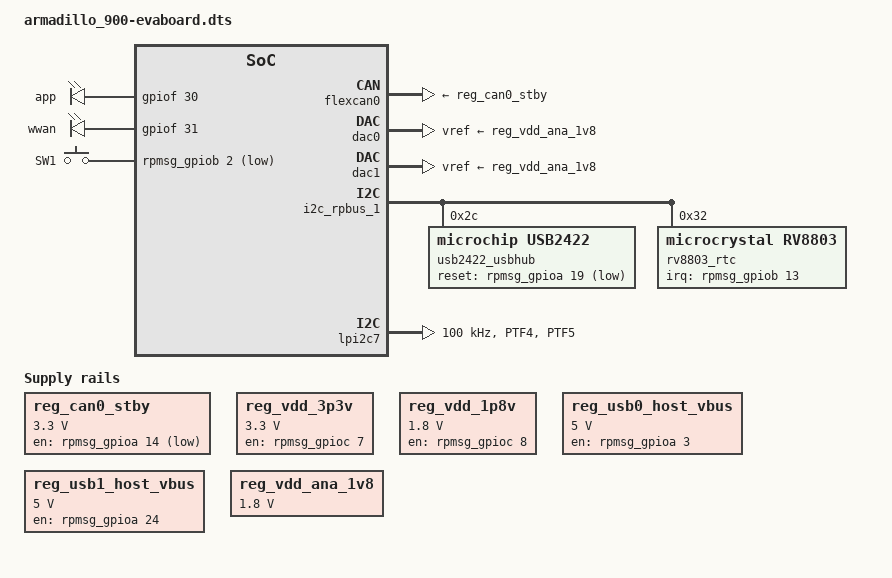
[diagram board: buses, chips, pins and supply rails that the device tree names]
// SPDX-License-Identifier: (GPL-2.0 OR MIT)
/*
 * Copyright (C) 2025 Atmark Techno, Inc. All Rights Reserved.
 */

/dts-v1/;
/plugin/;

#include "imx8ulp-pinfunc.h"
#include "imx8ulp-pinfunc-m33.h"
#include <dt-bindings/gpio/gpio.h>
#include <dt-bindings/input/input.h>
#include <dt-bindings/interrupt-controller/irq.h>

&{/} {
	model = "Atmark-Techno Armadillo-900 module EVA Board";
	compatible = "atmark,armadillo-900", "fsl,imx8ulp";

	aliases {
		/* aliases in overlay do not work natively and we need to
		 * hardcode node paths as strings instead */
		rtc0 = "/soc@0/bus@29800000/i2c@29840000/rtc@32";
	};

	reg_can0_stby: regulator-can0-stby {
		compatible = "regulator-fixed";
		gpio = <&rpmsg_gpioa 14 GPIO_ACTIVE_HIGH>;
		regulator-name = "CAN0_STBY";
		regulator-min-microvolt = <3300000>;
		regulator-max-microvolt = <3300000>;
	};

	reg_gnss_antenna: regulator-gnss-antenna {
		/* not expected to be used by default: enable if required */
		status = "broken";
		compatible = "regulator-fixed";
		gpio = <&rpmsg_gpioc 11 GPIO_ACTIVE_HIGH>;
		regulator-name = "GNSS_ANTENNA";
		regulator-min-microvolt = <3300000>;
		regulator-max-microvolt = <3300000>;
	};

	flexcan0: can@0 {
		compatible = "fsl,imx-rpmsg-can";
		xceiver-supply = <&reg_can0_stby>;
		suspend_wakeup_gpio = <PIN_PTA13>; /* rx pin selected in iomuxc */
		status = "okay";
	};

	/* DAC[0|1] is a fixed function pin. No pinmux needed. */
	dac0 {
		compatible = "fsl,imx-rpmsg-dac";
		label = "vout0";
		vref-supply = <&reg_vdd_ana_1v8>;

		dac_index = <DAC0>;
		dac_vref = <kDAC12_ReferenceVoltageSourceAlt1>;
		dac_cref = <kDAC12_ReferenceCurrentSourceAlt0>;
		dac_speed = <kDAC12_SpeedLowMode>;
	};

	dac1 {
		compatible = "fsl,imx-rpmsg-dac";
		label = "vout1";
		vref-supply = <&reg_vdd_ana_1v8>;

		dac_index = <DAC1>;
		dac_vref = <kDAC12_ReferenceVoltageSourceAlt1>;
		dac_cref = <kDAC12_ReferenceCurrentSourceAlt0>;
		dac_speed = <kDAC12_SpeedLowMode>;
	};

	leds {
		compatible = "gpio-leds";
		pinctrl-names = "default";
		pinctrl-0 = <&pinctrl_leds>;

		f30_led {
			label = "app";
			gpios = <&gpiof 30 GPIO_ACTIVE_HIGH>;
			linux,default-trigger = "none";
		};

		f31_led {
			label = "wwan";
			gpios = <&gpiof 31 GPIO_ACTIVE_HIGH>;
			linux,default-trigger = "none";
		};
	};

	gpio-keys {
		compatible = "gpio-keys";

		gpio_keys_sw1: sw1 {
			label = "SW1";
			gpios = <&rpmsg_gpiob 2 GPIO_ACTIVE_LOW>;
			linux,code = <KEY_PROG1>;
			wakeup-source;
		};
	};

//power
	reg_vdd_3p3v: regulator-vdd-3p3v {
		compatible = "regulator-fixed";
		gpio = <&rpmsg_gpioc 7 GPIO_ACTIVE_HIGH>;
		regulator-name = "VDD_3P3V";
		regulator-min-microvolt = <3300000>;
		regulator-max-microvolt = <3300000>;
		enable-active-high;
		regulator-always-on;
		regulator-boot-on;
	};

	reg_vdd_1p8v: regulator-vdd-1p8v {
		compatible = "regulator-fixed";
		gpio = <&rpmsg_gpioc 8 GPIO_ACTIVE_HIGH>;
		regulator-name = "VDD_1P8V";
		regulator-min-microvolt = <1800000>;
		regulator-max-microvolt = <1800000>;
		enable-active-high;
		regulator-always-on;
		regulator-boot-on;
	};

	reg_usb0_host_vbus: regulator-usb0-vbus {
		compatible = "regulator-fixed";
		gpio = <&rpmsg_gpioa 3 GPIO_ACTIVE_HIGH>;
		regulator-name = "usb0_host_vbus";
		regulator-min-microvolt = <5000000>;
		regulator-max-microvolt = <5000000>;
		enable-active-high;
		regulator-always-on;
	};

	reg_usb1_host_vbus: regulator-usb1-vbus {
		compatible = "regulator-fixed";
		gpio = <&rpmsg_gpioa 24 GPIO_ACTIVE_HIGH>;
		regulator-name = "usb1_host_vbus";
		regulator-min-microvolt = <5000000>;
		regulator-max-microvolt = <5000000>;
		enable-active-high;
		regulator-always-on;
	};

	reg_vdd_ana_1v8: regulator-vdd-ana-1v8 {
		compatible = "regulator-fixed";
		regulator-name = "VDD_ANA_1V8";
		regulator-min-microvolt = <1800000>;
		regulator-max-microvolt = <1800000>;
		enable-active-high;
		regulator-always-on;
		regulator-boot-on;
	};
};

// USB hub, RTC, eeprom
&i2c_rpbus_1 {
	#address-cells = <1>;
	#size-cells = <0>;
	status = "okay";

	i2c_type = <I2C_TYPE_LPI2C>;
	i2c_index = <LPI2C1>;
	i2c_baudrate = <100000>;

	usb2422_usbhub: usb2422@2c {
		compatible = "microchip,usb2422";
		reg = <0x2c>;
		reset-gpios = <&rpmsg_gpioa 19 GPIO_ACTIVE_LOW>;
	};

	rv8803_rtc: rtc@32 {
		compatible = "microcrystal,rv8803";
		reg = <0x32>;
		interrupt-parent = <&rpmsg_gpiob>;
		interrupts = <13 GPIO_ACTIVE_LOW>;
		wakeup-source;
	};
};

// fixed expansion interface i2c
&lpi2c7 {
	#address-cells = <1>;
	#size-cells = <0>;
	clock-frequency = <100000>;
	pinctrl-names = "default";
	pinctrl-0 = <&pinctrl_lpi2c7>;
	status = "okay";
};

&gpioa_iomuxc {
	flexcan0 {
		imx-rpmsg,pins = <
			IOMUXC_PTA12_CAN0_TX	(IOMUXC_PCR_PE_MASK | IOMUXC_PCR_PS_MASK)
			IOMUXC_PTA13_CAN0_RX	(IOMUXC_PCR_PE_MASK | IOMUXC_PCR_PS_MASK)
		>;
	};
	lpi2c1 {
		imx-rpmsg,pins = <
			IOMUXC_PTA4_LPI2C1_SCL	(IOMUXC_PCR_ODE_MASK | IOMUXC_PCR_PE_MASK | IOMUXC_PCR_PS_MASK | IOMUXC_PCR_SRE_MASK)
			IOMUXC_PTA5_LPI2C1_SDA	(IOMUXC_PCR_ODE_MASK | IOMUXC_PCR_PE_MASK | IOMUXC_PCR_PS_MASK | IOMUXC_PCR_SRE_MASK)
		>;
	};
};

&gpiob_iomuxc {
	do {
		imx-rpmsg,pins = <
			IOMUXC_PTB0_PTB0	IOMUXC_PCR_SRE_MASK
			IOMUXC_PTB1_PTB1	IOMUXC_PCR_SRE_MASK
		>;
	};
	sw1_gpio_keys {
		imx-rpmsg,pins = <
			IOMUXC_PTB2_PTB2	IOMUXC_PCR_IBE_MASK
		>;
	};
};

&iomuxc1 {
	/*
	 * append pinctrl_con10_gpio.
	 * pinctrl_customize is already defined in armadillo_900.dts
	 * and can be customized here or in other dtbos if necessary.
	 */
	pinctrl-0 = <&pinctrl_customize>, <&pinctrl_con10_gpio>;

	/* pinctrl memo
	 * 0x7c00000 deglitch window
	 * 0x200000 digital filter clock select (0=PCTL*, 1=RTC 1kHz)
	 * 0x100000 digital filter
	 * 0x20000 output buffer enable
	 * 0x10000 input buffer enable
	 * 0x40 high drive strength
	 * 0x20 open drain
	 * 0x4 slew rate
	 * 0x2 pull-up enable
	 * 0x1 pull-up selection (0=pull down)
	 */

	/* overridden by at-dtweb */
	pinctrl_con10_gpio: con10gpiogrp { // (CON16 on a900 evaboard)
		fsl,pins = <
			MX8ULP_PAD_PTF6__PTF6	0x0
			MX8ULP_PAD_PTF7__PTF7	0x0
			MX8ULP_PAD_PTF24__PTF24	0x0
		>;
	};

	pinctrl_leds: ledgrp {
		fsl,pins = <
			MX8ULP_PAD_PTF30__PTF30	0x0
			MX8ULP_PAD_PTF31__PTF31	0x0
		>;
	};

	/* con 10 i2c */
	pinctrl_lpi2c7: i2c7grp {
		fsl,pins = <
			MX8ULP_PAD_PTF4__LPI2C7_SCL	0x24
			MX8ULP_PAD_PTF5__LPI2C7_SDA	0x24
		>;
	};
};

&rpmsg_gpioa {
	gpio-line-names =
		/* PTA0 - 3 */ "", "", "", "",
		/* PTA4 - 7 */ "", "", "", "",
		/* PTA8 - 11 */ "CON16_5", "CON16_7", "CON16_9", "CON16_11",
		/* PTA12 - 15 */ "", "", "", "CON16_13",
		/* PTA16 - 19 */ "CON16_17", "CON16_19", "CON16_15", "",
		/* PTA20 - 23 */ "", "", "", "",
		/* PTA24 */ "";
};

&rpmsg_gpiob {
	gpio-line-names =
		/* PTB0 - 3 */ "CON9_11", "CON9_12", "SW1", "CON10_18",
		/* PTB4 - 7 */ "CON16_21", "CON16_23", "", "",
		/* PTB8 - 11 */ "", "", "", "",
		/* PTB12 - 15 */ "CON16_25", "", "CON16_27", "";
	wakeup-source;
};

&rpmsg_gpioc {
	gpio-line-names =
		/* PTC0 - 3 */ "", "", "", "",
		/* PTC4 - 7 */ "", "LED_SYS", "", "",
		/* PTC8 - 11 */ "", "", "CON10_17", "GNSS_ANT_PWR_EN",
		/* PTC12 - 15 */ "", "CON16_6", "CON16_8", "CON16_10",
		/* PTC16 - 19 */ "CON16_12", "CON16_14", "CON16_16", "CON16_18",
		/* PTC20 - 23 */ "CON16_20", "CON16_22", "CON16_24", "CON16_26";
};

&gpiof {
	gpio-line-names =
		/* PTF0 - 3 */ "", "", "", "",
		/* PTF4 - 7 */ "", "", "CON16_28", "CON16_30",
		/* PTF8 - 11 */ "", "", "", "",
		/* PTF12 - 15 */ "", "", "", "",
		/* PTF16 - 19 */ "", "", "", "",
		/* PTF20 - 23 */ "", "", "", "",
		/* PTF24 - 27 */ "CON16_32", "", "", "",
		/* PTF28 - 31 */ "", "", "LED_APP", "LED_WWAN";
 };
